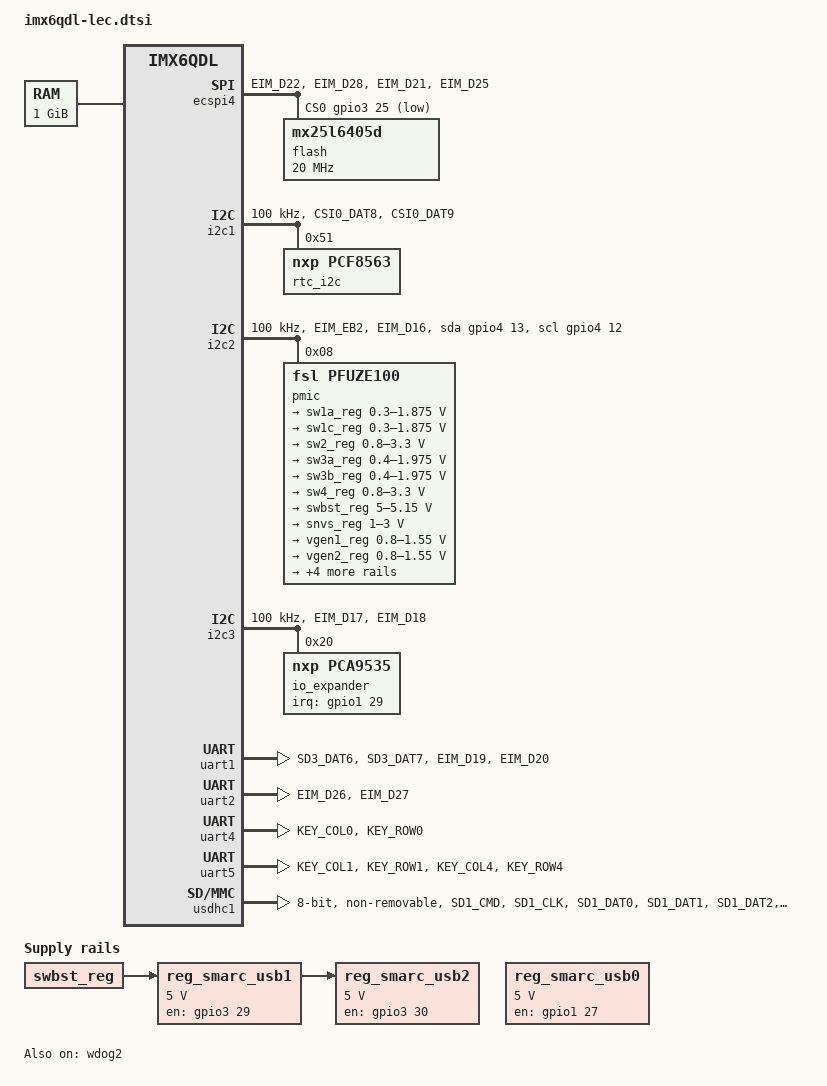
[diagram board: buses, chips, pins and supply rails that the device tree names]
// SPDX-License-Identifier: GPL-2.0+
//
// Copyright 2025 Fabio Estevam <festevam@gmail.com>
// Copyright 2014-2016 LiPPERT ADLINK Technology GmbH
// Copyright 2012 Freescale Semiconductor, Inc.
// Copyright 2011 Linaro Ltd.

#include <dt-bindings/gpio/gpio.h>

/ {
	chosen {
		stdout-path = &uart1;
	};

	memory: memory@10000000 {
		device_type = "memory";
		reg = <0x10000000 0x40000000>;
	};

	reg_smarc_usb0: regulator-smarc-usb0 {
		compatible = "regulator-fixed";
		regulator-name = "smarc_usb0";
		regulator-min-microvolt = <5000000>;
		regulator-max-microvolt = <5000000>;
		gpio = <&gpio1 27 GPIO_ACTIVE_HIGH>;	/* SMARC USB0_EN_OC# */
		enable-active-high;
	};

	reg_smarc_usb1: regulator-smarc-usb1 {
		compatible = "regulator-fixed";
		regulator-name = "smarc_usb1";
		regulator-min-microvolt = <5000000>;
		regulator-max-microvolt = <5000000>;
		gpio = <&gpio3 29 GPIO_ACTIVE_HIGH>;	/* SMARC USB1_EN_OC# */
		enable-active-high;
		/* Before enabling Vbus on the carrier power up the host phy's Vbus. */
		vin-supply = <&swbst_reg>;
	};

	reg_smarc_usb2: regulator-smarc-usb2 {
		compatible = "regulator-fixed";
		regulator-name = "smarc_usb2";
		regulator-min-microvolt = <5000000>;
		regulator-max-microvolt = <5000000>;
		gpio = <&gpio3 30 GPIO_ACTIVE_HIGH>; /* SMARC USB2_EN_OC# */
		enable-active-high;
		/* An on-module hub splits the i.MX6's usbh1 port into SMARC USB1 and 2.
		 * Devices on both are powered independently, via reg_smarc_usb1 and 2.
		 * But I've seen no way to model the hub in the device tree and usbh1
		 * takes only 1 "vbus-supply" line. So by declaring one as vin-supply
		 * for the other we trick usbh1 into enabling both. If someone needed to
		 * enable them separately they'd have to do it manually in user mode. */
		vin-supply = <&reg_smarc_usb1>;
	};
};

&can1 {
	pinctrl-names = "default";
	pinctrl-0 = <&pinctrl_flexcan1>;
	status = "disabled";
};

&can2 {
	pinctrl-names = "default";
	pinctrl-0 = <&pinctrl_flexcan2>;
	status = "disabled";
};

/* On-module U-Boot SPI */
&ecspi4 {
	#address-cells = <1>;
	#size-cells = <0>;

	pinctrl-names = "default";
	pinctrl-0 = <&pinctrl_ecspi4>;
	cs-gpios = <&gpio3 25 GPIO_ACTIVE_LOW>;
	status = "okay";

	flash@0 {

		compatible = "mx25l6405d", "jedec,spi-nor";
		spi-max-frequency = <20000000>; /* slowest we used was SST25VF032B; i.MX6 provides 60MHz max */
		reg = <0>;
		spi-cpol;
		spi-cpha;
	};
};

&fec {
	pinctrl-names = "default";
	pinctrl-0 = <&pinctrl_enet>;
	phy-mode = "rgmii-id";
	phy-handle = <&phy>;
	fsl,magic-packet;
	status = "disabled";

	mdio {
		#address-cells = <1>;
		#size-cells = <0>;

		phy: ethernet-phy@6 {
			reg = <6>;
			qca,clk-out-frequency = <125000000>;
			reset-gpios = <&gpio1 25 GPIO_ACTIVE_LOW>;
			reset-assert-us = <10000>;
		};
	};
};

&hdmi {
	pinctrl-names = "default";
	pinctrl-0 = <&pinctrl_hdmi>;
	status = "disabled";
};

&i2c1 {
	clock-frequency = <100000>;
	pinctrl-names = "default";
	pinctrl-0 = <&pinctrl_i2c1>;
	status = "okay";

	rtc_i2c: rtc@51 {
		compatible = "nxp,pcf8563";
		reg = <0x51>;
	};
};

&i2c2 {
	clock-frequency = <100000>;
	pinctrl-names = "default", "gpio";
	pinctrl-0 = <&pinctrl_i2c2>;
	pinctrl-1 = <&pinctrl_i2c2_gpio>;
	scl-gpios = <&gpio4 12 GPIO_ACTIVE_HIGH>;
	sda-gpios = <&gpio4 13 GPIO_ACTIVE_HIGH>;
	status = "okay";

	pmic@8 {
		compatible = "fsl,pfuze100";
		reg = <0x08>;

		regulators {
			sw1a_reg: sw1ab {	/* VDDCORE: VDDARM */
				regulator-min-microvolt = <300000>;
				regulator-max-microvolt = <1875000>;
				regulator-boot-on;
				regulator-always-on;
				regulator-ramp-delay = <6250>;
			};

			sw1c_reg: sw1c {	/* VDDSOC */
				regulator-min-microvolt = <300000>;
				regulator-max-microvolt = <1875000>;
				regulator-boot-on;
				regulator-always-on;
				regulator-ramp-delay = <6250>;
			};

			sw2_reg: sw2 {	/* GEN_3V3: NVCC_ENET (eth mac), eth phy, USB hub, eMMC, lots of misc stuff */
				regulator-min-microvolt = <800000>;
				regulator-max-microvolt = <3300000>;
				regulator-boot-on;
				regulator-always-on;
				regulator-ramp-delay = <6250>;
			};

			sw3a_reg: sw3a {	/* DDR_1V5 */
				regulator-min-microvolt = <400000>;
				regulator-max-microvolt = <1975000>;
				regulator-boot-on;
				regulator-always-on;
			};

			sw3b_reg: sw3b {	/* ditto */
				regulator-min-microvolt = <400000>;
				regulator-max-microvolt = <1975000>;
				regulator-boot-on;
				regulator-always-on;
			};

			sw4_reg: sw4 {	/* PMIC_1V8: VDD_IO and lots of stuff everywhere */
				regulator-min-microvolt = <800000>;
				regulator-max-microvolt = <3300000>;
				regulator-always-on;
			};

			swbst_reg: swbst {	/* PMIC_5V: USB h1 Vbus (for phy, rest is provided by carrier) */
				regulator-min-microvolt = <5000000>;
				regulator-max-microvolt = <5150000>;
			};

			snvs_reg: vsnvs {	/* PMIC_VSNVS (3V) */
				regulator-min-microvolt = <1000000>;
				regulator-max-microvolt = <3000000>;
				regulator-boot-on;
				regulator-always-on;
			};

			vref_reg: vrefddr {	/* DDR_VREF */
				regulator-boot-on;
				regulator-always-on;
			};

			vgen1_reg: vgen1 {	/* VGEN1_1V5: NVCC_RGMII (i.MX6's I/O to external eth phy) */
				regulator-min-microvolt = <800000>;
				regulator-max-microvolt = <1550000>;
				regulator-boot-on;
				regulator-always-on; /* we can't power off phy itself */
			};

			vgen2_reg: vgen2 {	/* unused */
				regulator-min-microvolt = <800000>;
				regulator-max-microvolt = <1550000>;
			};

			vgen3_reg: vgen3 {	/* VGEN3_2V5: NVCC_LVDS (LVDS, DRAM, RGMII), SPI/I2S mux */
				regulator-min-microvolt = <1800000>;
				regulator-max-microvolt = <3300000>;
				regulator-boot-on;
				regulator-always-on; /* despite its name, NVCC_LVDS also supplies DRAM_IO */
			};

			vgen4_reg: vgen4 {	/* VDDHIGH_IN (2.8V): SATA, PCIe, HDMI, MIPI, LVDS, USB, PLLs */
				regulator-min-microvolt = <1800000>;
				regulator-max-microvolt = <3300000>;
				regulator-boot-on;
				regulator-always-on;
			};

			vgen5_reg: vgen5 {	/* ditto, but unused per default (since LEC-iMX6 rev A4) */
				regulator-min-microvolt = <1800000>;
				regulator-max-microvolt = <3300000>;
				regulator-boot-on;
			};

			vgen6_reg: vgen6 {	/* VGEN6_3V3: PCIe switch, PCIe reset */
				regulator-min-microvolt = <1800000>;
				regulator-max-microvolt = <3300000>;
				regulator-boot-on;
				regulator-always-on;
			};
		};
	};
};

&i2c3 {
	clock-frequency = <100000>;
	pinctrl-names = "default";
	pinctrl-0 = <&pinctrl_i2c3>;
	status = "okay";

	io_expander: gpio@20 {
		compatible = "nxp,pca9535";
		reg = <0x20>;
		interrupt-parent = <&gpio1>;
		interrupts = <29 IRQ_TYPE_LEVEL_LOW>; /* GPIO_INT_B */
		gpio-controller;
		#gpio-cells = <2>;
		interrupt-controller;
		#interrupt-cells = <2>;
	};
};

&reg_arm {
       vin-supply = <&sw1a_reg>;
};

&reg_pu {
       vin-supply = <&sw1c_reg>;
};

&reg_soc {
       vin-supply = <&sw1c_reg>;
};

&reg_vdd1p1 {
	vin-supply = <&vgen5_reg>;
};

&reg_vdd2p5 {
	vin-supply = <&vgen5_reg>;
};

&sata {
	fsl,transmit-level-mV = <1025>;
	fsl,transmit-boost-mdB = <3330>;
	fsl,transmit-atten-16ths = <9>;
	fsl,receive-eq-mdB = <3000>;
	status = "disabled";
};

&snvs_poweroff {
	status = "okay";
};

&uart1 {
	pinctrl-names = "default";
	pinctrl-0 = <&pinctrl_uart1>;
	fsl,uart-has-rtscts;
	status = "okay";
};

&uart2 {
	pinctrl-names = "default";
	pinctrl-0 = <&pinctrl_uart2>;
	status = "okay";
};

&uart4 {
	pinctrl-names = "default";
	pinctrl-0 = <&pinctrl_uart4>;
	status = "okay";
};

&uart5 {
	pinctrl-names = "default";
	pinctrl-0 = <&pinctrl_uart5>;
	fsl,uart-has-rtscts;
	status = "okay";
};

&usbh1 {
	vbus-supply = <&reg_smarc_usb2>;
	disable-over-current;
	status = "disabled";
};

&usbotg {
	pinctrl-names = "default";
	pinctrl-0 = <&pinctrl_usbotg>;
	vbus-supply = <&reg_smarc_usb0>;
	disable-over-current;
	status = "disabled";
};

/* On-module eMMC */
&usdhc1 {
	pinctrl-names = "default";
	pinctrl-0 = <&pinctrl_usdhc1>;
	bus-width = <8>;
	non-removable;
	status = "okay";
};

&wdog1 {
	status = "disabled";
};

&wdog2 {
	pinctrl-names = "default";
	pinctrl-0 = <&pinctrl_wdog>;
	fsl,ext-reset-output;
	status = "okay";
};

&iomuxc {
	pinctrl-names = "default";
	pinctrl-0 = <&pinctrl_hog>;

	pinctrl_hog: hoggrp {
		fsl,pins = <
			MX6QDL_PAD_GPIO_0__CCM_CLKO1		0x130b0
			MX6QDL_PAD_ENET_TXD1__GPIO1_IO29	0x1b0b0 /* GPIO_INT_B */
			MX6QDL_PAD_ENET_TXD0__GPIO1_IO30	0x1b0b0 /* SMARC LCD_VDD_EN */
			MX6QDL_PAD_ENET_RXD0__GPIO1_IO27	0x1a8b0 /* SMARC USB0_EN_OC# (open-drain) */
			MX6QDL_PAD_EIM_D29__GPIO3_IO29		0x1a8b0 /* SMARC USB1_EN_OC# (open-drain) */
			MX6QDL_PAD_EIM_D30__GPIO3_IO30		0x1a8b0 /* SMARC USB2_EN_OC# (open-drain) */
			MX6QDL_PAD_KEY_ROW2__GPIO4_IO11		0x1b0b0 /* SMARC SDIO_PWR_EN */
			MX6QDL_PAD_NANDF_CS0__GPIO6_IO11	0x1b0b0 /* SMARC GPIO0/CAM0_PWR# */
			MX6QDL_PAD_NANDF_CS1__GPIO6_IO14	0x1b0b0 /* SMARC GPIO1/CAM1_PWR# */
			MX6QDL_PAD_NANDF_CS2__GPIO6_IO15	0x1b0b0 /* SMARC GPIO2/CAM0_RST# */
			MX6QDL_PAD_NANDF_CS3__GPIO6_IO16	0x1b0b0 /* SMARC GPIO3/CAM1_RST# */
			MX6QDL_PAD_NANDF_CLE__GPIO6_IO07	0x1b0b0 /* SMARC GPIO7/PCAM_FLD */
			MX6QDL_PAD_EIM_A25__GPIO5_IO02		0x0b0b1 /* GPIO_0 set to 100k ohm pull up */
		>;
	};

	pinctrl_ecspi4: ecspi4grp {
		fsl,pins = <
			MX6QDL_PAD_EIM_D22__ECSPI4_MISO         0x100b1
			MX6QDL_PAD_EIM_D28__ECSPI4_MOSI         0x100b1
			MX6QDL_PAD_EIM_D21__ECSPI4_SCLK         0x100b1
			MX6QDL_PAD_EIM_D25__GPIO3_IO25          0x1b0b0 /* CS3 */
		>;
	};

	pinctrl_enet: enetgrp {
		fsl,pins = <
			MX6QDL_PAD_ENET_MDIO__ENET_MDIO		0x1b0b0
			MX6QDL_PAD_ENET_MDC__ENET_MDC		0x1b0b0
			MX6QDL_PAD_RGMII_TXC__RGMII_TXC		0x1b0b8	/* serial resistor added */
			MX6QDL_PAD_RGMII_TD0__RGMII_TD0		0x1b030
			MX6QDL_PAD_RGMII_TD1__RGMII_TD1		0x1b030
			MX6QDL_PAD_RGMII_TD2__RGMII_TD2		0x1b030
			MX6QDL_PAD_RGMII_TD3__RGMII_TD3		0x1b030
			MX6QDL_PAD_RGMII_TX_CTL__RGMII_TX_CTL	0x1b030
			MX6QDL_PAD_ENET_REF_CLK__ENET_TX_CLK	0x1b0b0
			MX6QDL_PAD_RGMII_RXC__RGMII_RXC		0x1b030
			MX6QDL_PAD_RGMII_RD0__RGMII_RD0		0x1b030
			MX6QDL_PAD_RGMII_RD1__RGMII_RD1		0x1b030
			MX6QDL_PAD_RGMII_RD2__RGMII_RD2		0x1b030
			MX6QDL_PAD_RGMII_RD3__RGMII_RD3		0x1b030
			MX6QDL_PAD_RGMII_RX_CTL__RGMII_RX_CTL	0x1b030
			MX6QDL_PAD_ENET_CRS_DV__GPIO1_IO25	0x1b0b0 /* RGMII_nRST */
		>;
	};

	pinctrl_flexcan1: flexcan1grp {
		fsl,pins = <
			MX6QDL_PAD_SD3_CMD__FLEXCAN1_TX         0x17059
			MX6QDL_PAD_SD3_CLK__FLEXCAN1_RX         0x17059
		>;
	};

	pinctrl_flexcan2: flexcan2grp {
		fsl,pins = <
			MX6QDL_PAD_SD3_DAT0__FLEXCAN2_TX        0x17059
			MX6QDL_PAD_SD3_DAT1__FLEXCAN2_RX        0x17059
		>;
	};

	pinctrl_hdmi: hdmigrp {
		fsl,pins = <
			MX6QDL_PAD_KEY_COL3__HDMI_TX_DDC_SCL 0x4001b8b1
			MX6QDL_PAD_KEY_ROW3__HDMI_TX_DDC_SDA 0x4001b8b1
		>;
	};

	pinctrl_i2c1: i2c1grp {
		fsl,pins = <
			MX6QDL_PAD_CSI0_DAT8__I2C1_SDA		0x4001b8b1
			MX6QDL_PAD_CSI0_DAT9__I2C1_SCL		0x4001b8b1
		>;
	};

	pinctrl_i2c2: i2c2grp {
		fsl,pins = <
			MX6QDL_PAD_EIM_EB2__I2C2_SCL		0x4001b8b1
			MX6QDL_PAD_EIM_D16__I2C2_SDA		0x4001b8b1
		>;
	};

	pinctrl_i2c2_gpio: i2c2gpiogrp {
		fsl,pins = <
			MX6QDL_PAD_KEY_COL3__GPIO4_IO12         0x1b0b0
			MX6QDL_PAD_KEY_ROW3__GPIO4_IO13         0x1b0b0
		>;
	};

	pinctrl_i2c3: i2c3grp {
		fsl,pins = <
			MX6QDL_PAD_EIM_D17__I2C3_SCL		0x4001b8b1
			MX6QDL_PAD_EIM_D18__I2C3_SDA		0x4001b8b1
		>;
	};

	pinctrl_uart1: uart1grp {
		fsl,pins = <    /* SMARC SER0 */
			MX6QDL_PAD_SD3_DAT6__UART1_RX_DATA      0x1b0b1
			MX6QDL_PAD_SD3_DAT7__UART1_TX_DATA      0x1b0b1
			MX6QDL_PAD_EIM_D19__UART1_CTS_B         0x1b0b1
			MX6QDL_PAD_EIM_D20__UART1_RTS_B         0x1b0b1
		>;
	};

	pinctrl_uart2: uart2grp {
		fsl,pins = <    /* SMARC SER1 */
			MX6QDL_PAD_EIM_D26__UART2_TX_DATA       0x1b0b1
			MX6QDL_PAD_EIM_D27__UART2_RX_DATA       0x1b0b1
		>;
	};

	pinctrl_uart4: uart4grp {
		fsl,pins = <    /* SMARC SER3 */
			MX6QDL_PAD_KEY_COL0__UART4_TX_DATA      0x1b0b1
			MX6QDL_PAD_KEY_ROW0__UART4_RX_DATA      0x1b0b1
		>;
	};

	pinctrl_uart5: uart5grp {
		fsl,pins = <    /* SMARC SER2 */
			MX6QDL_PAD_KEY_COL1__UART5_TX_DATA	0x1b0b1
			MX6QDL_PAD_KEY_ROW1__UART5_RX_DATA	0x1b0b1
			MX6QDL_PAD_KEY_COL4__UART5_RTS_B	0x1b0b1
			MX6QDL_PAD_KEY_ROW4__UART5_CTS_B	0x1b0b1
		>;
	};

	pinctrl_usbotg: usbotggrp {
		fsl,pins = <	/* SMARC USB0 */
			MX6QDL_PAD_ENET_RX_ER__USB_OTG_ID	0x17059
		>;
	};

	pinctrl_usdhc1: usdhc1grp {
		fsl,pins = <
			MX6QDL_PAD_SD1_CMD__SD1_CMD             0x17059
			MX6QDL_PAD_SD1_CLK__SD1_CLK             0x10059
			MX6QDL_PAD_SD1_DAT0__SD1_DATA0          0x17059
			MX6QDL_PAD_SD1_DAT1__SD1_DATA1          0x17059
			MX6QDL_PAD_SD1_DAT2__SD1_DATA2          0x17059
			MX6QDL_PAD_SD1_DAT3__SD1_DATA3          0x17059
			MX6QDL_PAD_NANDF_D0__SD1_DATA4          0x17059
			MX6QDL_PAD_NANDF_D1__SD1_DATA5          0x17059
			MX6QDL_PAD_NANDF_D2__SD1_DATA6          0x17059
			MX6QDL_PAD_NANDF_D3__SD1_DATA7          0x17059
		>;
	};

	pinctrl_wdog: wdoggrp {
		fsl,pins = <
			MX6QDL_PAD_GPIO_1__WDOG2_B		0x1b0b0
		>;
	};
};
